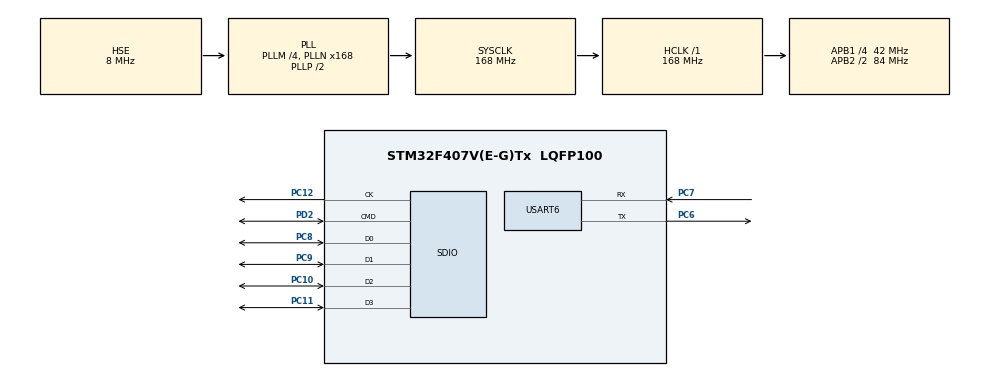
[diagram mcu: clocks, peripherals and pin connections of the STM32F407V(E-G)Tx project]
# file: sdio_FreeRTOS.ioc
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Dma.Request0=SDIO_RX
Dma.Request1=SDIO_TX
Dma.SDIO_RX.0.Direction=DMA_PERIPH_TO_MEMORY
Dma.SDIO_RX.0.FIFOMode=DMA_FIFOMODE_ENABLE
Dma.SDIO_RX.0.FIFOThreshold=DMA_FIFO_THRESHOLD_FULL
Dma.SDIO_RX.0.Instance=DMA2_Stream3
Dma.SDIO_RX.0.MemBurst=DMA_MBURST_INC4
Dma.SDIO_RX.0.MemDataAlignment=DMA_MDATAALIGN_WORD
Dma.SDIO_RX.0.MemInc=DMA_MINC_ENABLE
Dma.SDIO_RX.0.Mode=DMA_PFCTRL
Dma.SDIO_RX.0.PeriphBurst=DMA_PBURST_INC4
Dma.SDIO_RX.0.PeriphDataAlignment=DMA_PDATAALIGN_WORD
Dma.SDIO_RX.0.PeriphInc=DMA_PINC_DISABLE
Dma.SDIO_RX.0.Priority=DMA_PRIORITY_LOW
Dma.SDIO_TX.1.Direction=DMA_MEMORY_TO_PERIPH
Dma.SDIO_TX.1.FIFOMode=DMA_FIFOMODE_ENABLE
Dma.SDIO_TX.1.FIFOThreshold=DMA_FIFO_THRESHOLD_FULL
Dma.SDIO_TX.1.Instance=DMA2_Stream6
Dma.SDIO_TX.1.MemBurst=DMA_MBURST_INC4
Dma.SDIO_TX.1.MemDataAlignment=DMA_MDATAALIGN_WORD
Dma.SDIO_TX.1.MemInc=DMA_MINC_ENABLE
Dma.SDIO_TX.1.Mode=DMA_PFCTRL
Dma.SDIO_TX.1.PeriphBurst=DMA_PBURST_INC4
Dma.SDIO_TX.1.PeriphDataAlignment=DMA_PDATAALIGN_WORD
Dma.SDIO_TX.1.PeriphInc=DMA_PINC_DISABLE
Dma.SDIO_TX.1.Priority=DMA_PRIORITY_LOW
FATFS.USE_DMA_CODE_SD=1
FATFS._MAX_SS=4096
FREERTOS.Tasks01=defaultTask,24,128,StartDefaultTask,Default,NULL,Dynamic,NULL,NULL;my_Blink_Task,8,128,Start_Blink_Task,Default,NULL,Dynamic,NULL,NULL;my_SDIO_Task,8,512,Start_SDIO_Task,Default,NULL,Dynamic,NULL,NULL
FREERTOS.configUSE_NEWLIB_REENTRANT=1
Mcu.Family=STM32F4
Mcu.Name=STM32F407V(E-G)Tx
Mcu.Package=LQFP100
NVIC.DMA2_Stream3_IRQn=true\:5\:0\:false\:false\:true\:true\:false\:true
NVIC.DMA2_Stream6_IRQn=true\:5\:0\:false\:false\:true\:true\:false\:true
NVIC.PriorityGroup=NVIC_PRIORITYGROUP_4
NVIC.SDIO_IRQn=true\:5\:0\:false\:false\:true\:true\:true\:true
NVIC.TIM8_TRG_COM_TIM14_IRQn=true\:15\:0\:false\:false\:true\:false\:false\:true
NVIC.TimeBase=TIM8_TRG_COM_TIM14_IRQn
NVIC.TimeBaseIP=TIM14
PC10.GPIO_PuPd=GPIO_PULLUP
PC10.Mode=SD_4_bits_Wide_bus
PC10.Signal=SDIO_D2
PC11.GPIO_PuPd=GPIO_PULLUP
PC11.Mode=SD_4_bits_Wide_bus
PC11.Signal=SDIO_D3
PC12.Mode=SD_4_bits_Wide_bus
PC12.Signal=SDIO_CK
PC6.Mode=Asynchronous
PC6.Signal=USART6_TX
PC7.Mode=Asynchronous
PC7.Signal=USART6_RX
PC8.GPIO_PuPd=GPIO_PULLUP
PC8.Mode=SD_4_bits_Wide_bus
PC8.Signal=SDIO_D0
PC9.GPIO_PuPd=GPIO_PULLUP
PC9.Mode=SD_4_bits_Wide_bus
PC9.Signal=SDIO_D1
PD2.GPIO_PuPd=GPIO_PULLUP
PD2.Mode=SD_4_bits_Wide_bus
PD2.Signal=SDIO_CMD
PH0-OSC_IN.Mode=HSE-External-Oscillator
PH0-OSC_IN.Signal=RCC_OSC_IN
PH1-OSC_OUT.Mode=HSE-External-Oscillator
PH1-OSC_OUT.Signal=RCC_OSC_OUT
ProjectManager.HeapSize=0x200
ProjectManager.StackSize=0x400
ProjectManager.TargetToolchain=STM32CubeIDE
RCC.48MHZClocksFreq_Value=48000000
RCC.AHBFreq_Value=168000000
RCC.APB1CLKDivider=RCC_HCLK_DIV4
RCC.APB1Freq_Value=42000000
RCC.APB1TimFreq_Value=84000000
RCC.APB2CLKDivider=RCC_HCLK_DIV2
RCC.APB2Freq_Value=84000000
RCC.APB2TimFreq_Value=168000000
RCC.CortexFreq_Value=168000000
RCC.HCLKFreq_Value=168000000
RCC.HSE_VALUE=8000000
RCC.HSI_VALUE=16000000
RCC.LSE_VALUE=32768
RCC.PLLM=4
RCC.PLLN=168
RCC.PLLQ=7
RCC.PLLSourceVirtual=RCC_PLLSOURCE_HSE
RCC.SYSCLKFreq_VALUE=168000000
RCC.SYSCLKSource=RCC_SYSCLKSOURCE_PLLCLK
RCC.VCOOutputFreq_Value=336000000
SDIO.ClockDiv=8
USART6.VirtualMode=VM_ASYNC
VP_FATFS_VS_SDIO.Mode=SDIO
VP_FREERTOS_VS_CMSIS_V2.Mode=CMSIS_V2
VP_SYS_VS_tim14.Mode=TIM14
board=custom

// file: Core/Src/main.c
/* USER CODE BEGIN Header */
/**
 ******************************************************************************
 * @file           : main.c
 * @brief          : Main program body
 ******************************************************************************
 * @attention
 *
 * Copyright (c) 2022 STMicroelectronics.
 * All rights reserved.
 *
 * This software is licensed under terms that can be found in the LICENSE file
 * in the root directory of this software component.
 * If no LICENSE file comes with this software, it is provided AS-IS.
 *
 ******************************************************************************
 */
/* USER CODE END Header */
#include "main.h"
#include "cmsis_os.h"
#include "fatfs.h"

/* USER CODE BEGIN Includes */
#include "zerg_sdio.h"
#include <stdio.h>/* для printf */
#include "stdbool.h"
#include <string.h>
bool flag;
unsigned long T;

char path[20] = "0:";				 // Путь к SD карте после форматирования
const char *name = "TEST.TXT";		 // Имя будущего файла
char *folder_name = "FOLDER-1";		 // Имя будущего папки
/* USER CODE END Includes */

SD_HandleTypeDef hsd;
DMA_HandleTypeDef hdma_sdio_rx;
DMA_HandleTypeDef hdma_sdio_tx;

UART_HandleTypeDef huart6;

/* Definitions for defaultTask */
osThreadId_t defaultTaskHandle;
const osThreadAttr_t defaultTask_attributes = { .name = "defaultTask",
		.stack_size = 128 * 4, .priority = (osPriority_t) osPriorityNormal, };
/* Definitions for my_Blink_Task */
osThreadId_t my_Blink_TaskHandle;
const osThreadAttr_t my_Blink_Task_attributes = { .name = "my_Blink_Task",
		.stack_size = 128 * 4, .priority = (osPriority_t) osPriorityLow, };
/* Definitions for my_SDIO_Task */
osThreadId_t my_SDIO_TaskHandle;
const osThreadAttr_t my_SDIO_Task_attributes = { .name = "my_SDIO_Task",
		.stack_size = 512 * 4, .priority = (osPriority_t) osPriorityLow, };

void SystemClock_Config(void);
static void MX_GPIO_Init(void);
static void MX_DMA_Init(void);
static void MX_SDIO_SD_Init(void);
static void MX_USART6_UART_Init(void);
void StartDefaultTask(void *argument);
void Start_Blink_Task(void *argument);
void Start_SDIO_Task(void *argument);

/* USER CODE BEGIN PFP */
int _write(int file, char *ptr, int len) {
	int i;
	HAL_UART_Transmit(&huart6, (uint8_t*) ptr, len, 50);
	for (i = 0; i < len; i++) {
		ITM_SendChar(*ptr++);
	}
	return len;
}
/* USER CODE END PFP */

int main(void) {

	/* MCU Configuration--------------------------------------------------------*/

	/* Reset of all peripherals, Initializes the Flash interface and the Systick. */
	HAL_Init();

	/* USER CODE BEGIN Init */
	T = HAL_GetTick();
	flag = 1;
	/* USER CODE END Init */

	/* Configure the system clock */
	SystemClock_Config();

	/* Initialize all configured peripherals */
	MX_GPIO_Init();
	MX_DMA_Init();
	MX_SDIO_SD_Init();
	MX_USART6_UART_Init();
	MX_FATFS_Init();
	/* USER CODE BEGIN 2 */
	printf("Hello world! \r\n");
	/* USER CODE END 2 */

	/* Init scheduler */
	osKernelInitialize();

	/* Create the thread(s) */
	/* creation of defaultTask */
	defaultTaskHandle = osThreadNew(StartDefaultTask, NULL,
			&defaultTask_attributes);

	/* creation of my_Blink_Task */
	my_Blink_TaskHandle = osThreadNew(Start_Blink_Task, NULL,
			&my_Blink_Task_attributes);

	/* creation of my_SDIO_Task */
	my_SDIO_TaskHandle = osThreadNew(Start_SDIO_Task, NULL,
			&my_SDIO_Task_attributes);

	/* Start scheduler */
	osKernelStart();

	/* We should never get here as control is now taken by the scheduler */
	/* Infinite loop */
	while (1) {

	}
}

void SystemClock_Config(void) {
	RCC_OscInitTypeDef RCC_OscInitStruct = { 0 };
	RCC_ClkInitTypeDef RCC_ClkInitStruct = { 0 };

	/** Configure the main internal regulator output voltage
	 */
	__HAL_RCC_PWR_CLK_ENABLE();
	__HAL_PWR_VOLTAGESCALING_CONFIG(PWR_REGULATOR_VOLTAGE_SCALE1);
	/** Initializes the RCC Oscillators according to the specified parameters
	 * in the RCC_OscInitTypeDef structure.
	 */
	RCC_OscInitStruct.OscillatorType = RCC_OSCILLATORTYPE_HSE;
	RCC_OscInitStruct.HSEState = RCC_HSE_ON;
	RCC_OscInitStruct.PLL.PLLState = RCC_PLL_ON;
	RCC_OscInitStruct.PLL.PLLSource = RCC_PLLSOURCE_HSE;
	RCC_OscInitStruct.PLL.PLLM = 4;
	RCC_OscInitStruct.PLL.PLLN = 168;
	RCC_OscInitStruct.PLL.PLLP = RCC_PLLP_DIV2;
	RCC_OscInitStruct.PLL.PLLQ = 7;
	if (HAL_RCC_OscConfig(&RCC_OscInitStruct) != HAL_OK) {
		Error_Handler();
	}
	/** Initializes the CPU, AHB and APB buses clocks
	 */
	RCC_ClkInitStruct.ClockType = RCC_CLOCKTYPE_HCLK | RCC_CLOCKTYPE_SYSCLK
			| RCC_CLOCKTYPE_PCLK1 | RCC_CLOCKTYPE_PCLK2;
	RCC_ClkInitStruct.SYSCLKSource = RCC_SYSCLKSOURCE_PLLCLK;
	RCC_ClkInitStruct.AHBCLKDivider = RCC_SYSCLK_DIV1;
	RCC_ClkInitStruct.APB1CLKDivider = RCC_HCLK_DIV4;
	RCC_ClkInitStruct.APB2CLKDivider = RCC_HCLK_DIV2;

	if (HAL_RCC_ClockConfig(&RCC_ClkInitStruct, FLASH_LATENCY_5) != HAL_OK) {
		Error_Handler();
	}
}

static void MX_SDIO_SD_Init(void) {

	hsd.Instance = SDIO;
	hsd.Init.ClockEdge = SDIO_CLOCK_EDGE_RISING;
	hsd.Init.ClockBypass = SDIO_CLOCK_BYPASS_DISABLE;
	hsd.Init.ClockPowerSave = SDIO_CLOCK_POWER_SAVE_DISABLE;
	hsd.Init.BusWide = SDIO_BUS_WIDE_1B;
	hsd.Init.HardwareFlowControl = SDIO_HARDWARE_FLOW_CONTROL_DISABLE;
	hsd.Init.ClockDiv = 8;

}

static void MX_USART6_UART_Init(void) {

	huart6.Instance = USART6;
	huart6.Init.BaudRate = 115200;
	huart6.Init.WordLength = UART_WORDLENGTH_8B;
	huart6.Init.StopBits = UART_STOPBITS_1;
	huart6.Init.Parity = UART_PARITY_NONE;
	huart6.Init.Mode = UART_MODE_TX_RX;
	huart6.Init.HwFlowCtl = UART_HWCONTROL_NONE;
	huart6.Init.OverSampling = UART_OVERSAMPLING_16;
	if (HAL_UART_Init(&huart6) != HAL_OK) {
		Error_Handler();
	}

}

static void MX_DMA_Init(void) {

	/* DMA controller clock enable */
	__HAL_RCC_DMA2_CLK_ENABLE();

	/* DMA interrupt init */
	/* DMA2_Stream3_IRQn interrupt configuration */
	HAL_NVIC_SetPriority(DMA2_Stream3_IRQn, 5, 0);
	HAL_NVIC_EnableIRQ(DMA2_Stream3_IRQn);
	/* DMA2_Stream6_IRQn interrupt configuration */
	HAL_NVIC_SetPriority(DMA2_Stream6_IRQn, 5, 0);
	HAL_NVIC_EnableIRQ(DMA2_Stream6_IRQn);

}

static void MX_GPIO_Init(void) {

	/* GPIO Ports Clock Enable */
	__HAL_RCC_GPIOH_CLK_ENABLE();
	__HAL_RCC_GPIOC_CLK_ENABLE();
	__HAL_RCC_GPIOD_CLK_ENABLE();

}

void StartDefaultTask(void *argument) {
	for (;;) {
		osDelay(1);
	}
}

void Start_Blink_Task(void *argument) {
	/* USER CODE BEGIN Start_Blink_Task */
	__HAL_RCC_GPIOA_CLK_ENABLE(); // тактирование порта
	GPIO_InitTypeDef GPIO_InitStruct = { 0 }; // Для инициализации порта нам необходимо объявить структуру
	/* конфигурация вывода PA0 на выход с подтягивающим резистором */
	GPIO_InitStruct.Pin = GPIO_PIN_0; // номер вывода
	GPIO_InitStruct.Mode = GPIO_MODE_OUTPUT_PP; // режим выход
	GPIO_InitStruct.Pull = GPIO_PULLUP; // резистор к шине питания
	HAL_GPIO_Init(GPIOA, &GPIO_InitStruct);
	/* Infinite loop */
	for (;;) {
		if (flag == 1) {
			if (HAL_GetTick() - T >= 250) {
				flag = 0;
				T = HAL_GetTick();
			}
		}
		if (flag == 0) {
			if (HAL_GetTick() - T >= 250) {
				flag = 1;
				T = HAL_GetTick();
			}
		}
		HAL_GPIO_WritePin(GPIOA, GPIO_PIN_0, flag);
		//osDelay(1);
	}
	/* USER CODE END Start_Blink_Task */
}

void Start_SDIO_Task(void *argument) {
	/* USER CODE BEGIN Start_SDIO_Task */
	printf("Start_SDIO_Task \r\n");
	zerg_mount();
	zerg_format();
	zerg_creat_folder(folder_name);
	zerg_open();
	zerg_write();
	zerg_read();

	for (int i = 0; i <= 10; i++) {
		zerg_add_data();
	}

	zerg_read();
	zerg_get_free_space(); // Узнаем свободное место до удаления
	//zerg_scan_files(path);    // НЕ ВИДИТ ФАЙЛЫ!!!, РАЗБЕРИСЬ!!!
	//zerg_delete(folder_name); // Удаляем папку "folder_name" или файл "name"
	zerg_get_free_space(); // Узнаем свободное место после удаления
	zerg_get_file_info(name);
	//zerg_ummount(path);    // НЕ РАБОТАЕТ, РАЗБЕРИСЬ!!!
	/* Infinite loop */
	for (;;) {
		osDelay(1);
	}
	/* USER CODE END Start_SDIO_Task */
}

void HAL_TIM_PeriodElapsedCallback(TIM_HandleTypeDef *htim) {
	if (htim->Instance == TIM14) {
		HAL_IncTick();
	}
}

void Error_Handler(void) {
	__disable_irq();
	while (1) {
	}
}
